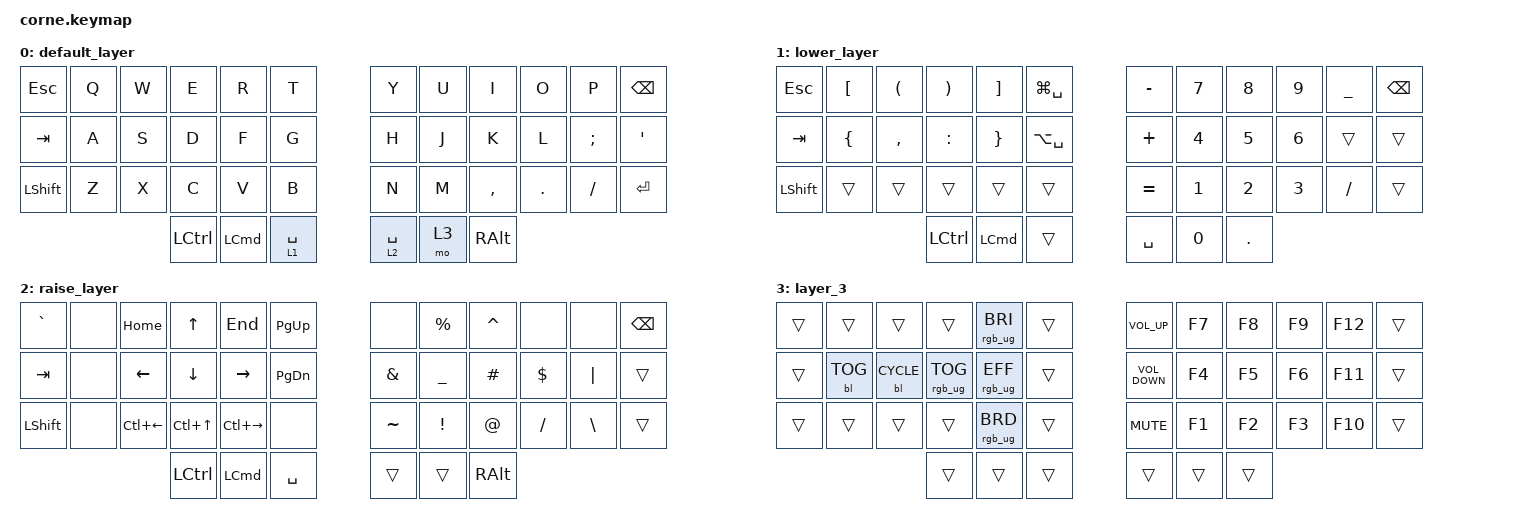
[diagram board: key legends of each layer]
/*
 * Copyright (c) 2020 The ZMK Contributors
 *
 * SPDX-License-Identifier: MIT
 */

#include <behaviors.dtsi>
#include <dt-bindings/zmk/backlight.h>
#include <dt-bindings/zmk/keys.h>
#include <dt-bindings/zmk/rgb.h>

/ {
    keymap {
        compatible = "zmk,keymap";

        default_layer {
            // -----------------------------------------------------------------------------------------
            // |  TAB |  Q  |  W  |  E  |  R  |  T  |   |  Y  |  U   |  I  |  O  |  P  | BSPC |
            // | CTRL |  A  |  S  |  D  |  F  |  G  |   |  H  |  J   |  K  |  L  |  ;  |  '   |
            // | SHFT |  Z  |  X  |  C  |  V  |  B  |   |  N  |  M   |  ,  |  .  |  /  | ESC  |
            //                    | GUI | LWR | SPC |   | ENT | RSE  | ALT |

            bindings = <
&kp ESCAPE  &kp Q  &kp W  &kp E             &kp R             &kp T          &kp Y        &kp U  &kp I      &kp O    &kp P     &kp BSPC
&kp TAB     &kp A  &kp S  &kp D             &kp F             &kp G          &kp H        &kp J  &kp K      &kp L    &kp SEMI  &kp APOS
&kp LSHFT   &kp Z  &kp X  &kp C             &kp V             &kp B          &kp N        &kp M  &kp COMMA  &kp DOT  &kp FSLH  &kp ENTER
                          &kp LEFT_CONTROL  &kp LEFT_COMMAND  &lt 1 SPACE    &lt 2 SPACE  &mo 3  &kp RALT
            >;
        };

        lower_layer {
            // -----------------------------------------------------------------------------------------
            // |  TAB |  1  |  2  |  3  |  4  |  5  |   |  6  |  7  |  8  |  9  |  0  | BSPC |
            // | BTCLR| BT1 | BT2 | BT3 | BT4 | BT5 |   | LFT | DWN |  UP | RGT |     |      |
            // | SHFT |     |     |     |     |     |   |     |     |     |     |     |      |
            //                    | GUI |     | SPC |   | ENT |     | ALT |

            bindings = <
&kp ESC    &kp LEFT_BRACKET  &kp LEFT_PARENTHESIS  &kp RIGHT_PARENTHESIS  &kp RIGHT_BRACKET  &kp LG(SPACE)    &kp MINUS  &kp N7        &kp N8        &kp N9        &kp UNDER  &kp BSPC
&kp TAB    &kp LEFT_BRACE    &kp COMMA             &kp COLON              &kp RIGHT_BRACE    &kp LA(SPACE)    &kp PLUS   &kp NUMBER_4  &kp NUMBER_5  &kp NUMBER_6  &trans     &trans
&kp LSHFT  &trans            &trans                &trans                 &trans             &trans           &kp EQUAL  &kp NUMBER_1  &kp NUMBER_2  &kp NUMBER_3  &kp SLASH  &trans
                                                   &kp LEFT_CONTROL       &kp LEFT_COMMAND   &trans           &kp SPACE  &kp N0        &kp PERIOD
            >;
        };

        raise_layer {
            // -----------------------------------------------------------------------------------------
            // |  TAB |  !  |  @  |  #  |  $  |  %  |   |  ^  |  &  |  *  |  (  |  )  | BSPC |
            // | CTRL |     |     |     |     |     |   |  -  |  =  |  [  |  ]  |  \  |  `   |
            // | SHFT |     |     |     |     |     |   |  _  |  +  |  {  |  }  | "|" |  ~   |
            //                    | GUI |     | SPC |   | ENT |     | ALT |

            bindings = <
&kp GRAVE  &none  &kp HOME      &kp UP            &kp END           &kp PG_UP        &none          &kp PERCENT  &kp CARET      &none       &none          &kp BSPC
&kp TAB    &none  &kp LEFT      &kp DOWN          &kp RIGHT         &kp PAGE_DOWN    &kp AMPERSAND  &kp UNDER    &kp POUND      &kp DOLLAR  &kp PIPE       &trans
&kp LSHFT  &none  &kp LC(LEFT)  &kp LC(UP_ARROW)  &kp LC(RIGHT)     &none            &kp TILDE      &kp EXCL     &kp AT         &kp SLASH   &kp BACKSLASH  &trans
                                &kp LEFT_CONTROL  &kp LEFT_COMMAND  &kp SPACE        &trans         &trans       &kp RIGHT_ALT
            >;
        };

        layer_3 {
            bindings = <
&trans  &trans      &trans        &trans           &rgb_ug RGB_BRI  &trans    &kp C_VOLUME_UP    &kp F7  &kp F8  &kp F9  &kp F12  &trans
&trans  &bl BL_TOG  &bl BL_CYCLE  &rgb_ug RGB_TOG  &rgb_ug RGB_EFF  &trans    &kp C_VOLUME_DOWN  &kp F4  &kp F5  &kp F6  &kp F11  &trans
&trans  &trans      &trans        &trans           &rgb_ug RGB_BRD  &trans    &kp K_MUTE         &kp F1  &kp F2  &kp F3  &kp F10  &trans
                                  &trans           &trans           &trans    &trans             &trans  &trans
            >;
        };
    };

    conditional_layers {
        compatible = "zmk,conditional-layers";

        utility-layer {
            if-layers = <1 2>;
            then-layer = <3>;
        };
    };
};
